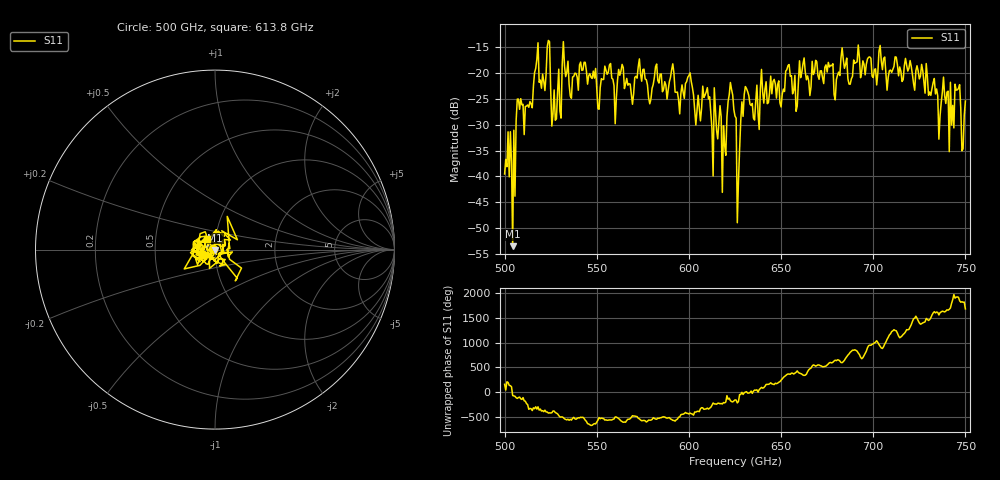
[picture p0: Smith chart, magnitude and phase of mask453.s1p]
!Created with skrf (http://scikit-rf.org).
# GHz S MA R 50.0
!freq magS11 angS11
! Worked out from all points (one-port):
!   401 points, 500 GHz to 750 GHz, reference 50 ohm
!   lowest |S11| = -53.6 dB at 504.4 GHz (marker M1), VSWR 1.00, Z = 50.1 - j0.189 ohm
!   |S11| at or under -10 dB: start of sweep to end of sweep
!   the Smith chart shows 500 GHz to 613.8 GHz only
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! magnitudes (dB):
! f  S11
! 500 GHz  -39.6
! 504.4 GHz  -53.6
! 507.5 GHz  -25.0
! 513.8 GHz  -25.5
! 516.9 GHz  -19.1
! 520.6 GHz  -20.2
! 523.8 GHz  -13.7
! 526.9 GHz  -23.3
! 531.2 GHz  -18.3
! 551.2 GHz  -27.0
! 556.2 GHz  -19.8
! 560 GHz  -29.8
! 562.5 GHz  -20.4
! 578.8 GHz  -25.9
! 590.6 GHz  -19.3
! 593.8 GHz  -23.7
! 608.8 GHz  -24.3
! 619.4 GHz  -34.0
! 622.5 GHz  -21.8
! 625 GHz  -28.3
! 627.5 GHz  -34.7
! 631.2 GHz  -23.0
! 656.2 GHz  -24.0
! 680 GHz  -21.2
! 683.8 GHz  -17.3
! 687.5 GHz  -22.1
! 718.8 GHz  -19.6
! 750 GHz  -25.4
